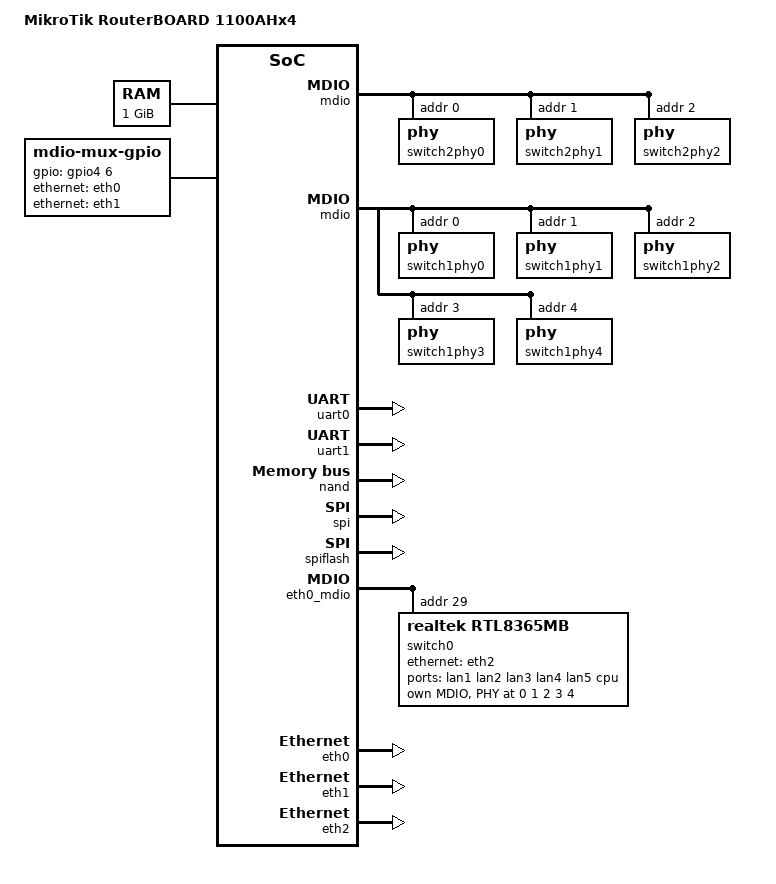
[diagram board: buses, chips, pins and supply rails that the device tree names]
// SPDX-License-Identifier: GPL-2.0-or-later OR MIT

/dts-v1/;

#include "alpine-mikrotik.dtsi"

/ {
	compatible = "mikrotik,rb1100ahx4", "annapurna-labs,alpine";
	model = "MikroTik RouterBOARD 1100AHx4";

	aliases {
		led-boot     = &user_led;
		led-failsafe = &user_led;
		led-running  = &user_led;
		led-upgrade  = &user_led;
		serial0 = &uart0;
	};

	chosen {
		stdout-path = "serial0:115200n8";
	};

	memory@0 {
		device_type = "memory";
		reg = <0x00000000 0x00000000 0x00000000 0x40000000>;
	};
	mdio-mux {
		compatible = "mdio-mux-gpio";
		mdio-parent-bus = <&eth0_mdio>;
		gpios = <&gpio4 6 GPIO_ACTIVE_HIGH>;
		#address-cells = <1>;
		#size-cells = <0>;

		/* Channel 0: GPIO LOW → Switch C (p11-13) */
		mdio_mux_c: mdio@0 {
			reg = <0>;
			#address-cells = <1>;
			#size-cells = <0>;

			switch2: switch@0 {
				compatible = "realtek,rtl8365mb";
				reg = <0>;
				dsa,member = <2 0>;

				mdio {
					#address-cells = <1>;
					#size-cells = <0>;
					switch2phy0: phy@0 { reg = <0>; };
					switch2phy1: phy@1 { reg = <1>; };
					switch2phy2: phy@2 { reg = <2>; };
				};

				ports {
					#address-cells = <1>;
					#size-cells = <0>;

					port@0 {
						reg = <0>;
						label = "lan11";
						phy-handle = <&switch2phy0>;
					};
					port@1 {
						reg = <1>;
						label = "lan12";
						phy-handle = <&switch2phy1>;
					};
					port@2 {
						reg = <2>;
						label = "lan13";
						phy-handle = <&switch2phy2>;
					};

					port@6 {
						reg = <6>;
						label = "cpu";
						ethernet = <&eth0>;
						phy-mode = "2500base-x";
						fixed-link {
							speed = <2500>;
							full-duplex;
						};
					};
				};
			};
		};

		/* Channel 1: GPIO HIGH → Switch B (p6-10) */
		mdio_mux_b: mdio@1 {
			reg = <1>;
			#address-cells = <1>;
			#size-cells = <0>;

			switch1: switch@0 {
				compatible = "realtek,rtl8365mb";
				reg = <0>;
				dsa,member = <1 0>;

				mdio {
					#address-cells = <1>;
					#size-cells = <0>;
					switch1phy0: phy@0 { reg = <0>; };
					switch1phy1: phy@1 { reg = <1>; };
					switch1phy2: phy@2 { reg = <2>; };
					switch1phy3: phy@3 { reg = <3>; };
					switch1phy4: phy@4 { reg = <4>; };
				};

				ports {
					#address-cells = <1>;
					#size-cells = <0>;

					port@0 {
						reg = <0>;
						label = "lan6";
						phy-handle = <&switch1phy0>;
					};
					port@1 {
						reg = <1>;
						label = "lan7";
						phy-handle = <&switch1phy1>;
					};
					port@2 {
						reg = <2>;
						label = "lan8";
						phy-handle = <&switch1phy2>;
					};
					port@3 {
						reg = <3>;
						label = "lan9";
						phy-handle = <&switch1phy3>;
					};
					port@4 {
						reg = <4>;
						label = "lan10";
						phy-handle = <&switch1phy4>;
					};

					port@6 {
						reg = <6>;
						label = "cpu";
						ethernet = <&eth1>;
						phy-mode = "2500base-x";
						fixed-link {
							speed = <2500>;
							full-duplex;
						};
					};
				};
			};
		};
	};
};

&uart0 {
	status = "okay";
};

&uart1 {
	status = "okay";
};

&nand {
	status = "okay";

	partitions {
		compatible = "fixed-partitions";
		#address-cells = <1>;
		#size-cells = <1>;

		partition@0 {
			label = "kernel";
			reg = <0x0 0x1400000>;
		};

		partition@1400000 {
			label = "ubi";
			reg = <0x1400000 0x6c00000>;
		};
	};
};

&spi { status = "okay"; };

&spiflash {
	status = "okay";

	partitions {
		compatible = "fixed-partitions";
		#address-cells = <1>;
		#size-cells = <1>;

		partition@0 {
			label = "RouterBoot-backup";
			reg = <0x00000000 0x00040000>;
			read-only;
		};

		partition@40000 {
			label = "RouterBoot";
			reg = <0x00040000 0x0001f000>;
			read-only;
		};

		partition@5f000 {
			label = "hard_config";
			reg = <0x0005f000 0x00001000>;
			read-only;
		};

		partition@60000 {
			label = "soft_config";
			reg = <0x00060000 0x00020000>;
		};
	};
};

&eth0_mdio {
	status = "okay";

	switch0: switch@1d {
		compatible = "realtek,rtl8365mb";
		reg = <29>;
		dsa,member = <0 0>;

		mdio {
			#address-cells = <1>;
			#size-cells = <0>;
			switch0phy0: phy@0 { reg = <0>; };
			switch0phy1: phy@1 { reg = <1>; };
			switch0phy2: phy@2 { reg = <2>; };
			switch0phy3: phy@3 { reg = <3>; };
			switch0phy4: phy@4 { reg = <4>; };
		};

		ports {
			#address-cells = <1>;
			#size-cells = <0>;

			port@0 {
				reg = <0>;
				label = "lan1";
				phy-handle = <&switch0phy0>;
			};
			port@1 {
				reg = <1>;
				label = "lan2";
				phy-handle = <&switch0phy1>;
			};
			port@2 {
				reg = <2>;
				label = "lan3";
				phy-handle = <&switch0phy2>;
			};
			port@3 {
				reg = <3>;
				label = "lan4";
				phy-handle = <&switch0phy3>;
			};
			port@4 {
				reg = <4>;
				label = "lan5";
				phy-handle = <&switch0phy4>;
			};

			port@6 {
				reg = <6>;
				label = "cpu";
				ethernet = <&eth2>;
				phy-mode = "2500base-x";
				fixed-link {
					speed = <2500>;
					full-duplex;
				};
			};
		};
	};
};

&eth0 { status = "okay"; };

&eth1 {
	status = "okay";
	/delete-node/ mdio;
};

&eth2 {
	status = "okay";
	/delete-node/ mdio;
};
